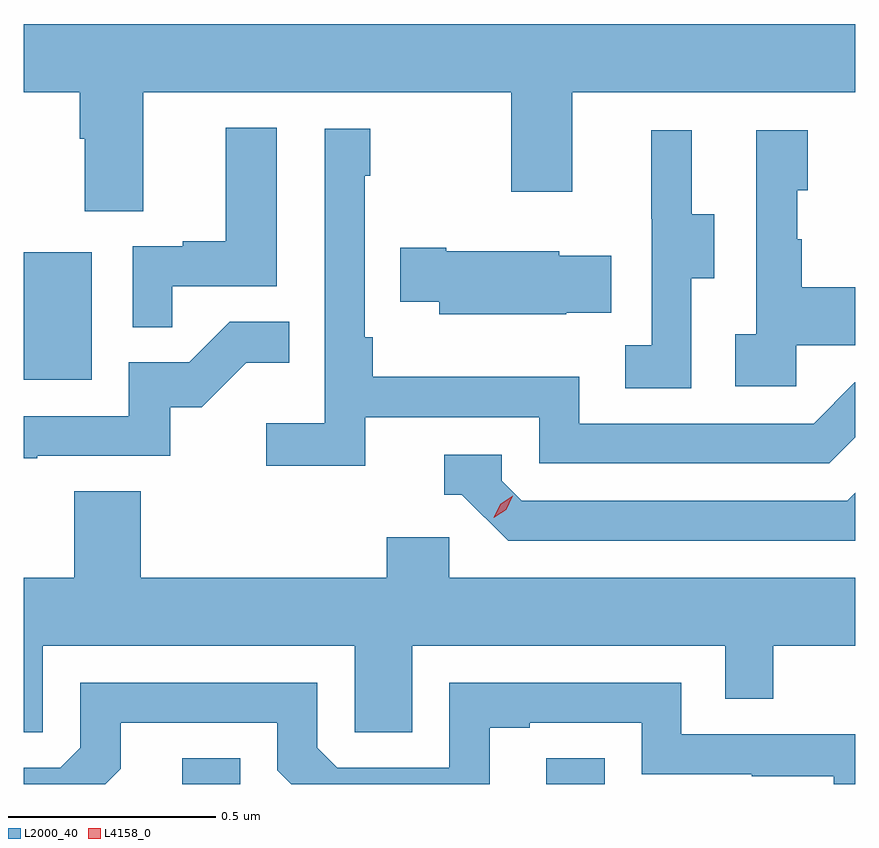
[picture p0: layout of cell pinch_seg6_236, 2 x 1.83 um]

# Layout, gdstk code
import gdstk
lib = gdstk.Library(unit=1e-6, precision=1e-09)
def R(c, l, rs):  # rectangles x0, y0, x1, y1
    for r in rs: c.add(gdstk.rectangle(r[:2], r[2:], *l))
def P(c, l, *ps):  # polygons
    for p in ps: c.add(gdstk.Polygon(p, *l))
L2000_40 = (2000, 40)
L4158_0 = (4158, 0)

pinch_seg6_236 = lib.new_cell('pinch_seg6_236')
R(pinch_seg6_236, L2000_40, [(1100.987,929.688,1101.127,929.75), (1101.863,929.688,1102.003,929.75), (1100.606,930.66,1100.77,930.967)])
P(pinch_seg6_236, L2000_40, [(1100.893,931.352),(1101.778,931.352),(1101.778,931.113),(1101.925,931.113),(1101.925,931.352),(1102.606,931.352),(1102.606,931.516),(1100.606,931.516),(1100.606,931.352),(1100.741,931.352),(1100.741,931.24),(1100.753,931.24),(1100.753,931.066),(1100.893,931.066)],
  [(1100.963,930.885),(1101.214,930.885),(1101.214,931.267),(1101.092,931.267),(1101.092,930.994),(1100.989,930.994),(1100.989,930.981),(1100.868,930.981),(1100.868,930.787),(1100.963,930.787)],
  [(1101.428,930.57),(1101.846,930.57),(1101.846,930.459),(1102.543,930.459),(1102.606,930.522),(1102.606,930.654),(1102.605,930.654),(1102.506,930.555),(1101.942,930.555),(1101.942,930.667),(1101.446,930.667),(1101.446,930.763),(1101.426,930.763),(1101.426,931.151),(1101.439,931.151),(1101.439,931.264),(1101.33,931.264),(1101.33,930.556),(1101.189,930.556),(1101.189,930.454),(1101.428,930.454)],
  [(1102.212,930.904),(1102.267,930.904),(1102.267,931.059),(1102.213,931.059),(1102.213,931.261),(1102.115,931.261),(1102.115,931.047),(1102.116,931.047),(1102.116,930.743),(1102.053,930.743),(1102.053,930.64),(1102.212,930.64)],
  [(1102.464,930.743),(1102.606,930.743),(1102.606,930.883),(1102.477,930.883),(1102.477,930.998),(1102.467,930.998),(1102.467,931.116),(1102.492,931.116),(1102.492,931.261),(1102.368,931.261),(1102.368,930.77),(1102.317,930.77),(1102.317,930.645),(1102.464,930.645)],
  [(1101.911,930.821),(1102.019,930.821),(1102.019,930.958),(1101.894,930.958),(1101.894,930.97),(1101.622,930.97),(1101.622,930.978),(1101.511,930.978),(1101.511,930.848),(1101.605,930.848),(1101.605,930.818),(1101.911,930.818)],
  [(1100.639,930.477),(1100.958,930.477),(1100.958,930.594),(1101.034,930.594),(1101.141,930.701),(1101.245,930.701),(1101.245,930.8),(1101.102,930.8),(1101.004,930.702),(1100.859,930.702),(1100.859,930.573),(1100.606,930.573),(1100.606,930.472),(1100.639,930.472)],
  [(1102.606,930.388),(1102.587,930.369),(1101.804,930.369),(1101.756,930.417),(1101.756,930.48),(1101.617,930.48),(1101.617,930.384),(1101.66,930.384),(1101.771,930.273),(1102.606,930.273)],
  [(1100.652,930.02),(1101.402,930.02),(1101.402,929.812),(1101.541,929.812),(1101.541,930.02),(1102.293,930.02),(1102.293,929.893),(1102.409,929.893),(1102.409,930.02),(1102.606,930.02),(1102.606,930.184),(1101.63,930.184),(1101.63,930.282),(1101.479,930.282),(1101.479,930.184),(1100.888,930.184),(1100.888,930.392),(1100.728,930.392),(1100.728,930.184),(1100.606,930.184),(1100.606,929.812),(1100.652,929.812)],
  [(1100.839,929.725),(1100.839,929.835),(1101.216,929.835),(1101.216,929.721),(1101.249,929.688),(1101.727,929.688),(1101.727,929.823),(1101.823,929.823),(1101.823,929.835),(1102.092,929.835),(1102.092,929.712),(1102.357,929.712),(1102.357,929.707),(1102.554,929.707),(1102.554,929.688),(1102.606,929.688),(1102.606,929.808),(1102.188,929.808),(1102.188,929.931),(1101.63,929.931),(1101.63,929.727),(1101.36,929.727),(1101.312,929.775),(1101.312,929.931),(1100.742,929.931),(1100.742,929.775),(1100.694,929.727),(1100.606,929.727),(1100.606,929.688),(1100.802,929.688)])
P(pinch_seg6_236, L4158_0, [(1101.736,930.328),(1101.736,930.328),(1101.752,930.361),(1101.782,930.381),(1101.782,930.381),(1101.782,930.381),(1101.767,930.348),(1101.736,930.328)])

lib.write_gds('pinch_seg6_236.gds')
